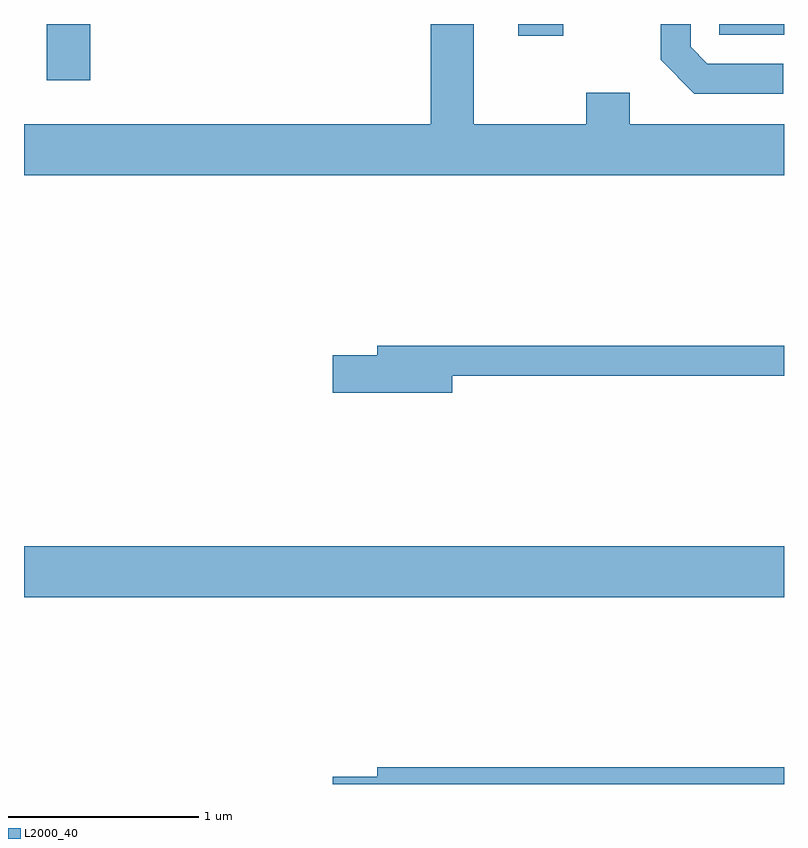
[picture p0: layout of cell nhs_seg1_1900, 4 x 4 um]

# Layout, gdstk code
import gdstk
lib = gdstk.Library(unit=1e-6, precision=1e-09)
def R(c, l, rs):  # rectangles x0, y0, x1, y1
    for r in rs: c.add(gdstk.rectangle(r[:2], r[2:], *l))
def P(c, l, *ps):  # polygons
    for p in ps: c.add(gdstk.Polygon(p, *l))
L2000_40 = (2000, 40)

nhs_seg1_1900 = lib.new_cell('nhs_seg1_1900')
R(nhs_seg1_1900, L2000_40, [(243.611,890.696,247.611,890.964), (243.731,893.416,243.959,893.712), (246.211,893.651,246.448,893.712), (247.271,893.656,247.611,893.712)])
P(nhs_seg1_1900, L2000_40, [(247.611,893.184),(246.799,893.184),(246.799,893.349),(246.571,893.349),(246.571,893.184),(245.979,893.184),(245.979,893.712),(245.751,893.712),(245.751,893.184),(243.611,893.184),(243.611,892.916),(247.611,892.916)],
  [(247.608,893.504),(247.207,893.504),(247.119,893.592),(247.119,893.712),(246.961,893.712),(246.961,893.524),(247.139,893.346),(247.608,893.346)],
  [(245.864,891.861),(247.611,891.861),(247.611,892.019),(245.471,892.019),(245.471,891.969),(245.236,891.969),(245.236,891.771),(245.864,891.771)],
  [(247.611,889.799),(245.471,889.799),(245.471,889.749),(245.236,889.749),(245.236,889.712),(247.611,889.712)])

lib.write_gds('nhs_seg1_1900.gds')
